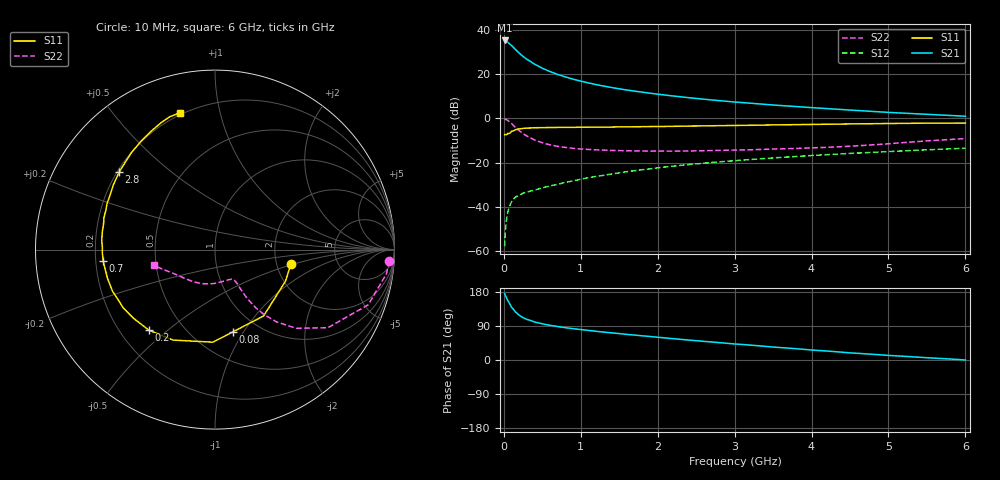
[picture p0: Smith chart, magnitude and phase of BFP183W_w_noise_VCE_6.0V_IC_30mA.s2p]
! Infineon Technologies  Discrete & RF Semiconductors
! BFP183W
! VCE =  6.0 V,  IC =  30 mA
! Common Emitter S-Parameters:  Jan 2017
# GHz  S  MA  R  50
!  f  S11  S21  S12  S22
! GHz  MAG  ANG  MAG  ANG  MAG  ANG  MAG  ANG
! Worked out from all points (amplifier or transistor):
!   77 points, 10 MHz to 6 GHz, reference 50 ohm
!   highest |S21| = 35.2 dB at 10 MHz (marker M1)
!   |S21| within 3 dB of that: start of sweep to 120.2 MHz
!   unconditionally stable (mu >= 1): 963.6 MHz to 3.403 GHz
!   at 130 MHz: K = 0.30, MSG = 34.1 dB, |S12| = -36.3 dB
!   at 2.2 GHz: K = 1.06, MAG = 14.4 dB, |S12| = -21.6 dB
!   at 6 GHz: K = 0.87, MSG = 7.2 dB, |S12| = -13.4 dB
!   lowest NFmin = 1.39 dB at 450 MHz
!   S11 on the Smith chart (normalised r, x): 10 MHz: 2.41, -0.46; 80 MHz: 0.77, -0.90; 200 MHz: 0.32, -0.43; 700 MHz: 0.23, -0.05; 2.8 GHz: 0.21, +0.34; 6 GHz: 0.19, +0.76
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0.01  0.4308 -10.5  57.71 175.5  0.0013 91.0  0.9731 -3.8
0.02  0.4304 -24.1  57.1 170.2  0.0029 90.4  0.9643 -8.1
0.05  0.4583 -53.8  53.06 157.2  0.0076 71.1  0.9075 -19.8
0.08  0.4685 -77.5  47.25 147.2  0.0109 64.6  0.8152 -28.1
0.1  0.5159 -91.3  44.35 139.2  0.0131 62.1  0.765 -34.7
0.15  0.5554 -114.8  36.23 126.9  0.0168 53.1  0.6298 -44.1
0.2  0.5807 -129.4  29.84 118.1  0.0183 49.4  0.5287 -49.6
0.25  0.594 -140.0  25.15 111.7  0.0205 48.1  0.4539 -52.9
0.3  0.6054 -147.5  21.58 107.1  0.0217 48.3  0.3988 -54.9
0.4  0.6162 -158.0  16.76 100.2  0.0241 49.2  0.3258 -56.6
0.5  0.6198 -164.9  13.59 95.4  0.027 51.8  0.2823 -57.0
0.6  0.6222 -170.4  11.46 91.5  0.0299 52.4  0.2532 -57.1
0.7  0.6262 -174.4  9.851 88.3  0.0323 56.1  0.2335 -56.9
0.9  0.6278 178.7  7.696 82.7  0.0388 57.9  0.2113 -57.3
1.1  0.6339 173.3  6.338 78.1  0.0459 60.7  0.1994 -58.2
1.5  0.6434 164.2  4.665 69.7  0.0588 61.8  0.1873 -62.5
2.1  0.659 152.5  3.367 58.2  0.08 61.3  0.1825 -74.4
2.8  0.6869 141.0  2.521 45.8  0.1044 58.5  0.1897 -92.7
3.1  0.696 136.4  2.278 40.9  0.1143 57.0  0.194 -100.8
4.1  0.735 122.8  1.711 25.0  0.1484 51.2  0.2192 -127.2
5.1  0.7703 112.2  1.341 11.0  0.1814 44.9  0.2758 -152.4
6  0.7869 104.3  1.12 0.1  0.2127 38.8  0.3505 -165.4
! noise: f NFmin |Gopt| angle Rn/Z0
0.45  1.39  0.27  180  0.1
0.9  1.43  0.3  -178  0.09
1.9  1.92  0.45  -156  0.1
2.4  2.17  0.5  -152  0.15
